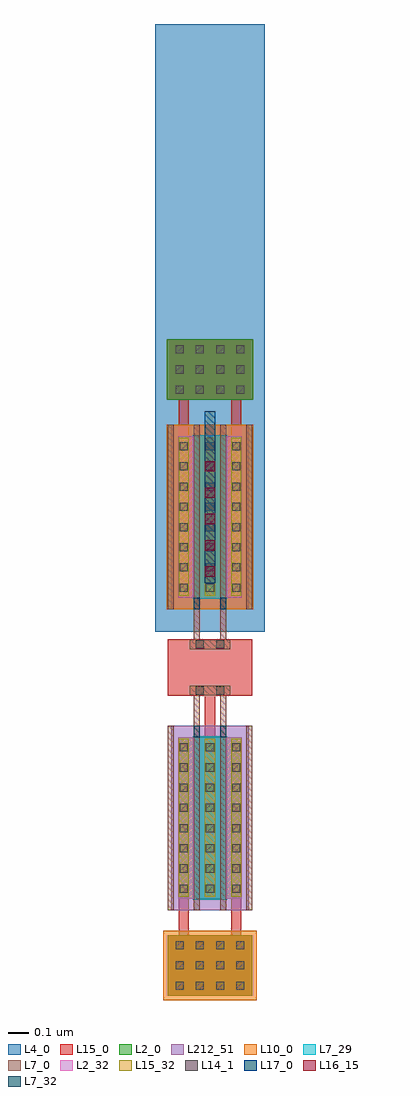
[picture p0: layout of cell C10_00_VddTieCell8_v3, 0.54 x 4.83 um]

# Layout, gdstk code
import gdstk
lib = gdstk.Library(unit=1e-6, precision=1e-09)
def R(c, l, rs):  # rectangles x0, y0, x1, y1
    for r in rs: c.add(gdstk.rectangle(r[:2], r[2:], *l))
def A(c, l, x, y, w, h, nx, ny, dx, dy):  # array of equal rectangles
    R(c, l, [(x+i*dx, y+j*dy, x+i*dx+w, y+j*dy+h) for i in range(nx) for j in range(ny)])
L2_0 = (2, 0)
L2_32 = (2, 32)
L4_0 = (4, 0)
L7_0 = (7, 0)
L7_29 = (7, 29)
L7_32 = (7, 32)
L10_0 = (10, 0)
L14_1 = (14, 1)
L15_0 = (15, 0)
L15_32 = (15, 32)
L16_15 = (16, 15)
L17_0 = (17, 0)
L212_51 = (212, 51)

c10_00_vddtiecell8_v3_sr = lib.new_cell('C10_00_VddTieCell8_v3:SRF_TieCellNMOSRouted:SRF_Nmos:SRF_Gate_ViaM0Mx:SRF_ViaM0M1')
R(c10_00_vddtiecell8_v3_sr, L7_0, [(-0.01,-0.004,0.15,0.044)])
R(c10_00_vddtiecell8_v3_sr, L14_1, [(0,0,0.04,0.04), (0.1,0,0.14,0.04)])
R(c10_00_vddtiecell8_v3_sr, L15_0, [(-0.021,-0.005,0.161,0.045)])

c_c10_00_vddtiecell8_v3_sr = lib.new_cell('C10_00_VddTieCell8_v3:SRF_TieCellNMOSRouted:SRF_Nmos:SRF_Gate_ViaM0Mx')
c_c10_00_vddtiecell8_v3_sr.add(gdstk.Reference(c10_00_vddtiecell8_v3_sr, (-0.07,-0.02)))

c_c10_00_vddtiecell8_v3_sr_ = lib.new_cell('C10_00_VddTieCell8_v3:SRF_TieCellNMOSRouted:SRF_Nmos')
R(c_c10_00_vddtiecell8_v3_sr_, L2_0, [(-0.078,0.057,0.238,0.857)])
R(c_c10_00_vddtiecell8_v3_sr_, L2_32, [(-0.078,0.057,0,0.857), (0.16,0.057,0.238,0.857)])
A(c_c10_00_vddtiecell8_v3_sr_, L7_0, -0.13, 0, 0.03, 0.914, 4, 1, 0.13, 0)
R(c_c10_00_vddtiecell8_v3_sr_, L7_0, [(0,0.914,0.03,1.064), (0.13,0.914,0.16,1.064), (-0.02,1.064,0.18,1.112)])
R(c_c10_00_vddtiecell8_v3_sr_, L7_29, [(-0.005,0.052,0.165,0.862)])
R(c_c10_00_vddtiecell8_v3_sr_, L7_32, [(0,0.857,0.03,0.914), (0.13,0.857,0.16,0.914)])
A(c_c10_00_vddtiecell8_v3_sr_, L14_1, -0.07, 0.087, 0.04, 0.04, 3, 8, 0.13, 0.1)
R(c_c10_00_vddtiecell8_v3_sr_, L15_0, [(-0.075,0.066,-0.025,0.848), (-0.075,0.066,-0.025,0.848), (0.055,0.066,0.105,0.848), (0.055,0.066,0.105,0.848), (0.185,0.066,0.235,0.848), (0.185,0.066,0.235,0.848), (-0.031,1.063,0.191,1.113)])
A(c_c10_00_vddtiecell8_v3_sr_, L15_32, -0.075, 0.066, 0.05, 0.782, 3, 1, 0.13, 0)
R(c_c10_00_vddtiecell8_v3_sr_, L212_51, [(-0.113,0.001,0.273,0.913)])
c_c10_00_vddtiecell8_v3_sr_.add(gdstk.Reference(c_c10_00_vddtiecell8_v3_sr, (0.08,1.088)))

c_c10_00_vddtiecell8_v3_sr__ = lib.new_cell('C10_00_VddTieCell8_v3:SRF_TieCellNMOSRouted')
c_c10_00_vddtiecell8_v3_sr__.add(gdstk.Reference(c_c10_00_vddtiecell8_v3_sr_, (0,0)))

c_c10_00_vddtiecell8_v3_sr___ = lib.new_cell('C10_00_VddTieCell8_v3:SRF_TieCellPMOSRouted:SRF_Pmos:SRF_Drain_ViaM1M2:SRF_ViaM1M2')
R(c_c10_00_vddtiecell8_v3_sr___, L15_0, [(0,-0.552,0.05,0.082)])
A(c_c10_00_vddtiecell8_v3_sr___, L16_15, 0, -0.52, 0.05, 0.05, 1, 5, 0, 0.13)
R(c_c10_00_vddtiecell8_v3_sr___, L17_0, [(0,-0.552,0.05,0.082)])

c_c10_00_vddtiecell8_v3_sr____ = lib.new_cell('C10_00_VddTieCell8_v3:SRF_TieCellPMOSRouted:SRF_Pmos:SRF_Drain_ViaM1M2')
c_c10_00_vddtiecell8_v3_sr____.add(gdstk.Reference(c_c10_00_vddtiecell8_v3_sr___, (-0.025,0.235)))

c_c10_00_vddtiecell8_v3_sr_____ = lib.new_cell('C10_00_VddTieCell8_v3:SRF_TieCellPMOSRouted:SRF_Pmos:SRF_Gate_ViaM0Mx:SRF_ViaM0M1')
R(c_c10_00_vddtiecell8_v3_sr_____, L7_0, [(-0.01,-0.004,0.15,0.044)])
R(c_c10_00_vddtiecell8_v3_sr_____, L14_1, [(0,0,0.04,0.04), (0.1,0,0.14,0.04)])
R(c_c10_00_vddtiecell8_v3_sr_____, L15_0, [(-0.021,-0.005,0.161,0.045)])

c_c10_00_vddtiecell8_v3_sr______ = lib.new_cell('C10_00_VddTieCell8_v3:SRF_TieCellPMOSRouted:SRF_Pmos:SRF_Gate_ViaM0Mx')
c_c10_00_vddtiecell8_v3_sr______.add(gdstk.Reference(c_c10_00_vddtiecell8_v3_sr_____, (-0.07,-0.02)))

c_c10_00_vddtiecell8_v3_sr_______ = lib.new_cell('C10_00_VddTieCell8_v3:SRF_TieCellPMOSRouted:SRF_Pmos')
R(c_c10_00_vddtiecell8_v3_sr_______, L2_0, [(-0.078,0.057,0.238,0.857)])
R(c_c10_00_vddtiecell8_v3_sr_______, L2_32, [(-0.078,0.057,0,0.857), (0.16,0.057,0.238,0.857)])
A(c_c10_00_vddtiecell8_v3_sr_______, L7_0, -0.13, 0, 0.03, 0.914, 4, 1, 0.13, 0)
R(c_c10_00_vddtiecell8_v3_sr_______, L7_0, [(-0.02,-0.198,0.18,-0.15), (0,-0.15,0.03,0), (0.13,-0.15,0.16,0)])
R(c_c10_00_vddtiecell8_v3_sr_______, L7_29, [(-0.005,0.052,0.165,0.862)])
R(c_c10_00_vddtiecell8_v3_sr_______, L7_32, [(0,0,0.03,0.057), (0.13,0,0.16,0.057)])
R(c_c10_00_vddtiecell8_v3_sr_______, L10_0, [(-0.134,0.001,0.294,0.913)])
A(c_c10_00_vddtiecell8_v3_sr_______, L14_1, -0.07, 0.087, 0.04, 0.04, 3, 8, 0.13, 0.1)
R(c_c10_00_vddtiecell8_v3_sr_______, L15_0, [(-0.031,-0.199,0.191,-0.149), (-0.075,0.066,-0.025,0.848), (-0.075,0.066,-0.025,0.848), (0.055,0.066,0.105,0.848), (0.055,0.066,0.105,0.848), (0.185,0.066,0.235,0.848), (0.185,0.066,0.235,0.848)])
A(c_c10_00_vddtiecell8_v3_sr_______, L15_32, -0.075, 0.066, 0.05, 0.782, 3, 1, 0.13, 0)
R(c_c10_00_vddtiecell8_v3_sr_______, L17_0, [(0.055,0.13,0.105,0.93), (0.055,0.93,0.105,0.98)])
R(c_c10_00_vddtiecell8_v3_sr_______, L212_51, [(-0.113,0.001,0.273,0.913)])
c_c10_00_vddtiecell8_v3_sr_______.add(gdstk.Reference(c_c10_00_vddtiecell8_v3_sr____, (0.08,0.447)))
c_c10_00_vddtiecell8_v3_sr_______.add(gdstk.Reference(c_c10_00_vddtiecell8_v3_sr______, (0.08,-0.174)))

c_c10_00_vddtiecell8_v3_sr________ = lib.new_cell('C10_00_VddTieCell8_v3:SRF_TieCellPMOSRouted')
c_c10_00_vddtiecell8_v3_sr________.add(gdstk.Reference(c_c10_00_vddtiecell8_v3_sr_______, (0,0)))

c_c10_00_vddtiecell8_v3_sr_________ = lib.new_cell('C10_00_VddTieCell8_v3:SRF_PMOS_Body_Contact:SRF_NbodyContactPhyLen')
R(c_c10_00_vddtiecell8_v3_sr_________, L2_0, [(-0.044,-0.23,0.384,0.07)])
R(c_c10_00_vddtiecell8_v3_sr_________, L4_0, [(-0.1,-0.286,0.44,0.126)])
A(c_c10_00_vddtiecell8_v3_sr_________, L14_1, 0, -0.2, 0.04, 0.04, 4, 3, 0.1, 0.1)
R(c_c10_00_vddtiecell8_v3_sr_________, L15_0, [(-0.044,-0.23,0.384,0.07)])

c_c10_00_vddtiecell8_v3_sr__________ = lib.new_cell('C10_00_VddTieCell8_v3:SRF_PMOS_Body_Contact')
c_c10_00_vddtiecell8_v3_sr__________.add(gdstk.Reference(c_c10_00_vddtiecell8_v3_sr_________, (0,0)))

c_c10_00_vddtiecell8_v3_sr___________ = lib.new_cell('C10_00_VddTieCell8_v3:SRF_NMOS_Body_Contact:SRF_PbodyContactPhyLen')
R(c_c10_00_vddtiecell8_v3_sr___________, L2_0, [(-0.04,-0.23,0.38,0.07)])
R(c_c10_00_vddtiecell8_v3_sr___________, L10_0, [(-0.061,-0.251,0.401,0.091)])
A(c_c10_00_vddtiecell8_v3_sr___________, L14_1, 0, -0.2, 0.04, 0.04, 4, 3, 0.1, 0.1)
R(c_c10_00_vddtiecell8_v3_sr___________, L15_0, [(-0.04,-0.23,0.38,0.07)])

c_c10_00_vddtiecell8_v3_sr____________ = lib.new_cell('C10_00_VddTieCell8_v3:SRF_NMOS_Body_Contact')
c_c10_00_vddtiecell8_v3_sr____________.add(gdstk.Reference(c_c10_00_vddtiecell8_v3_sr___________, (0,0)))

c10_00_vddtiecell8_v3 = lib.new_cell('C10_00_VddTieCell8_v3')
R(c10_00_vddtiecell8_v3, L4_0, [(-0.19,1.379,0.35,2.471), (-0.19,1.379,0.35,4.387)])
R(c10_00_vddtiecell8_v3, L15_0, [(-0.075,-0.123,-0.025,0.066), (0.185,-0.123,0.235,0.066), (0.055,0.848,0.105,1.063), (-0.075,2.338,-0.025,2.527), (0.185,2.338,0.235,2.527)])
c10_00_vddtiecell8_v3.add(gdstk.FlexPath([(0.08,1.341),(0.08,1.063)], 0.42, ends="flush", simple_path=True, layer=15, datatype=0))  # L15_0
c10_00_vddtiecell8_v3.add(gdstk.Reference(c_c10_00_vddtiecell8_v3_sr__, (0,0)))
c10_00_vddtiecell8_v3.add(gdstk.Reference(c_c10_00_vddtiecell8_v3_sr________, (0,1.49)))
c10_00_vddtiecell8_v3.add(gdstk.Reference(c_c10_00_vddtiecell8_v3_sr__________, (-0.09,2.757)))
c10_00_vddtiecell8_v3.add(gdstk.Reference(c_c10_00_vddtiecell8_v3_sr____________, (-0.09,-0.193)))

lib.write_gds('C10_00_VddTieCell8_v3.gds')
